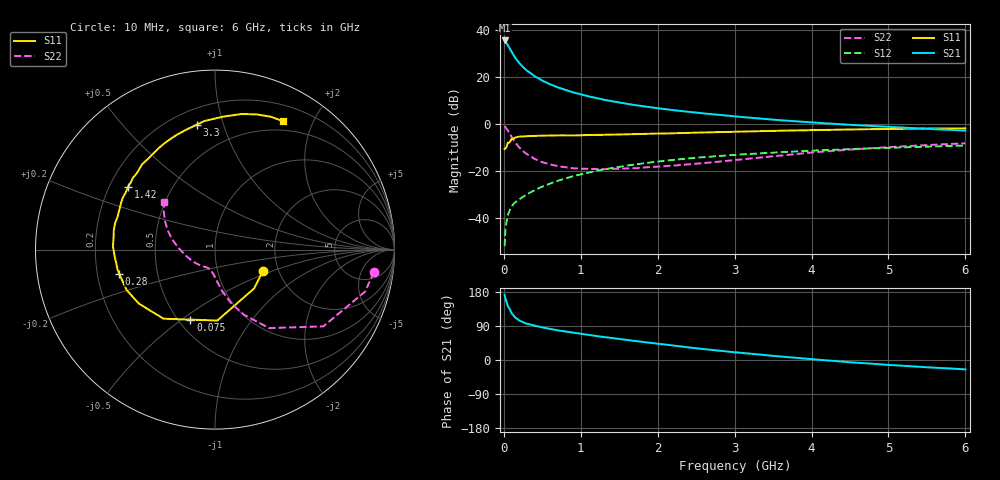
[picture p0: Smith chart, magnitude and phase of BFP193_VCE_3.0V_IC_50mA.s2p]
! Infineon Technologies  Discrete & RF Semiconductors
! BFP193
! VCE = 3.0 V,  IC =  50 mA
! Common Emitter S-Parameters:  Jan 2016
# GHz  S  MA  R  50
!  f  S11  S21  S12  S22
! GHz  MAG  ANG  MAG  ANG  MAG  ANG  MAG  ANG
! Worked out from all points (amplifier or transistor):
!   210 points, 10 MHz to 6 GHz, reference 50 ohm
!   highest |S21| = 35.6 dB at 10 MHz (marker M1)
!   |S21| within 3 dB of that: start of sweep to 68.75 MHz
!   unconditionally stable (mu >= 1): 507.5 MHz to 3.927 GHz
!   at 185 MHz: K = 0.71, MSG = 29.6 dB, |S12| = -32.4 dB
!   at 1.52 GHz: K = 1.07, MAG = 12.0 dB, |S12| = -18.1 dB
!   at 6 GHz: K = 0.95, MSG = 3.2 dB, |S12| = -9.1 dB
!   S11 on the Smith chart (normalised r, x): 10 MHz: 1.66, -0.43; 75 MHz: 0.57, -0.54; 280 MHz: 0.29, -0.11; 1.42 GHz: 0.28, +0.30; 3.3 GHz: 0.30, +0.82; 6 GHz: 0.39, +1.60
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0.01  0.2926 -24.1  60.52 171.6  0.0025 83.4  0.8946 -8.0
0.02  0.3072 -44.7  57.71 162.6  0.0054 80.2  0.8686 -15.6
0.05  0.3955 -88.1  48.75 143.2  0.0112 65.9  0.74 -35.3
0.075  0.4134 -109.3  41.01 134.8  0.0144 61.3  0.6263 -43.7
0.1  0.4801 -126.7  34.52 122.9  0.0176 58.3  0.5315 -55.4
0.15  0.5199 -144.6  25.5 111.4  0.0217 56.5  0.398 -66.0
0.2  0.5412 -155.3  20.05 104.3  0.0249 57.3  0.3185 -72.6
0.24  0.5447 -161.4  17.03 100.6  0.0276 58.4  0.2741 -76.2
0.28  0.5505 -166.0  14.75 97.3  0.0304 59.3  0.2423 -79.3
0.3  0.554 -168.1  13.74 95.7  0.0318 59.7  0.2286 -80.8
0.4  0.5603 -176.2  10.49 90.5  0.0388 62.0  0.1811 -85.8
0.5  0.5687 178.3  8.413 85.9  0.0465 64.2  0.1539 -89.8
0.6  0.5688 173.2  7.047 81.9  0.0538 64.5  0.1378 -93.6
0.7  0.5747 168.8  6.069 78.2  0.0617 64.9  0.127 -97.0
1.02  0.5782 156.8  4.2 68.5  0.0864 63.4  0.1117 -106.5
1.42  0.597 144.0  3.033 57.7  0.1168 59.5  0.1112 -118.6
2.02  0.6273 127.3  2.154 42.6  0.1599 52.2  0.1244 -138.5
3.1  0.6908 102.0  1.411 18.6  0.2259 38.1  0.1767 -173.4
3.3  0.7033 98.3  1.322 14.9  0.2364 35.6  0.1904 -178.7
4.1  0.7469 84.9  1.059 0.5  0.276 25.8  0.2554 164.1
5.1  0.7903 71.8  0.855 -14.1  0.3159 14.7  0.3294 148.5
6  0.8099 61.9  0.728 -24.7  0.3494 5.0  0.3899 136.6
